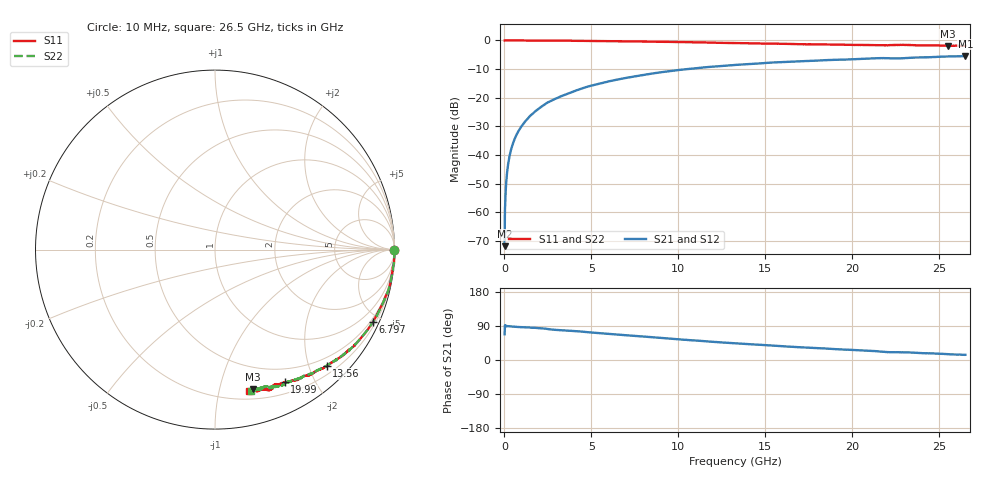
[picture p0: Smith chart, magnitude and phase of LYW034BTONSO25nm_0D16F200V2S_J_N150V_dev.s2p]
!Keysight Technologies,N5222B,MY61253708,A.15.00.15
!Date: Wednesday, June 19, 2024 10:10:38
!Correction: S11(C  2-Port  )
!S21(C  2-Port  )
!S12(C  2-Port  )
!S22(C  2-Port  )
!S2P File: Measurements: S11, S21, S12, S22:
# Hz S  RI  R 50
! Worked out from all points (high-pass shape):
!   2651 points, 10 MHz to 26.5 GHz, reference 50 ohm
!   highest |S21| = -5.42 dB at 26.5 GHz (marker M1); lowest = -71.8 dB at 10 MHz (marker M2)
!   |S21| within 3 dB of the highest: 13.57 GHz to end of sweep
!   lowest |S11| = -1.9 dB at 25.5 GHz (marker M3), VSWR 9.18, Z = 14.4 - j63.2 ohm
!   |S11| at or under -10 dB: nowhere
!   |S22| runs from -1.9 to 0.0 dB; largest |S21 - S12| = 0.0059
!   S11 on the Smith chart (normalised r, x): 10 MHz: open; 6.797 GHz: 0.36, -4.55; 13.56 GHz: 0.35, -2.30; 19.99 GHz: 0.33, -1.60; 26.5 GHz: 0.27, -1.23
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1e7  0.9988 -0.00289  9.67e-05 0.000239  -6.65e-05 0.000379  0.9985 -0.00162
6.997736e7  1 -0.00501  3.02e-05 0.00229  2.35e-05 0.0023  0.9997 -0.00477
1.599434e8  1 -0.0112  5.99e-05 0.00522  6.1e-05 0.00526  0.9996 -0.0106
1.999283e8  1 -0.0134  9.82e-05 0.00653  8.04e-05 0.00654  0.9996 -0.0128
2.499094e8  0.9997 -0.0169  0.000131 0.00816  0.000141 0.00819  0.9994 -0.0161
3.498717e8  0.9998 -0.0236  0.000288 0.0114  0.00027 0.0115  0.9995 -0.0227
4.798226e8  0.9987 -0.0322  0.000471 0.0157  0.000487 0.0157  0.9985 -0.0311
6.397623e8  0.9988 -0.042  0.000865 0.0208  0.000859 0.0209  0.9985 -0.0414
8.296906e8  0.998 -0.0546  0.00141 0.0269  0.00144 0.0271  0.998 -0.0539
1.449457e9  0.991 -0.0962  0.0034 0.0473  0.00342 0.0474  0.9933 -0.093
2.329125e9  0.9826 -0.1498  0.00966 0.0768  0.00981 0.0771  0.9836 -0.1503
3.208792e9  0.9721 -0.2051  0.0205 0.1026  0.0207 0.1031  0.9718 -0.2046
4.428332e9  0.9442 -0.2774  0.0374 0.1398  0.0377 0.1405  0.9457 -0.275
6.797438e9  0.8792 -0.4038  0.0886 0.1977  0.0895 0.1981  0.8803 -0.4034
8.846664e9  0.8078 -0.4982  0.142 0.2349  0.1432 0.2352  0.8089 -0.4971
1.3255e10  0.6343 -0.6394  0.2679 0.2605  0.2697 0.2599  0.6371 -0.6385
1.356488e10  0.6216 -0.6476  0.2759 0.2599  0.2781 0.2593  0.6237 -0.6473
1.767333e10  0.4641 -0.721  0.3742 0.2344  0.3769 0.2324  0.4727 -0.7187
1.999246e10  0.3873 -0.7395  0.4203 0.2096  0.4224 0.207  0.3978 -0.7391
2.209166e10  0.3288 -0.7559  0.4575 0.1735  0.4586 0.1704  0.321 -0.7618
2.550038e10  0.2093 -0.7758  0.5074 0.1379  0.5083 0.1372  0.2284 -0.7775
2.65e10  0.1896 -0.7895  0.5209 0.1265  0.5198 0.1227  0.2021 -0.7872
